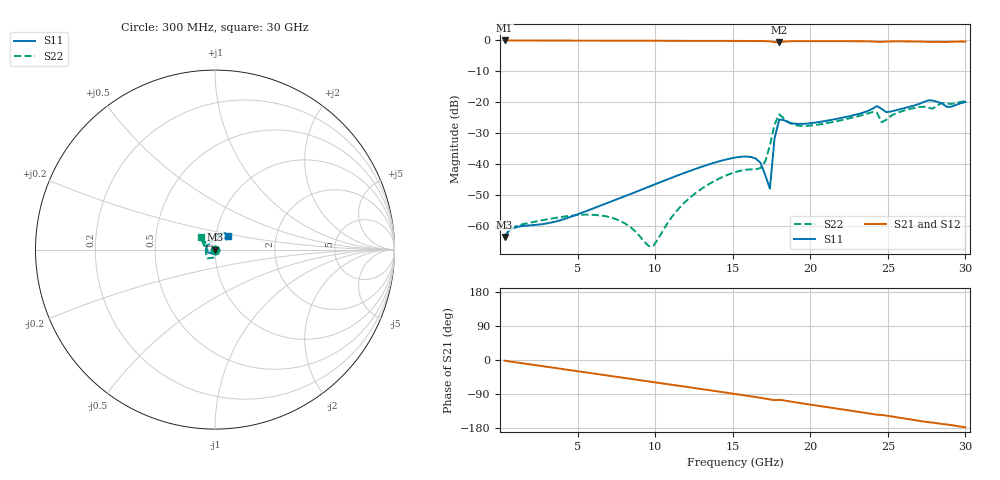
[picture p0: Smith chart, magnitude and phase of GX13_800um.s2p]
! Created Wed Apr 21 15:05:08 2021
! List of port names and net name(s): example Port n = <port_name> <net_name1> <net_name2> ...
! Port 1 = P1 P2 gnd!
! Port 2 = P2 P2 P4
# hz S ri R 50
! 2 Port Network Data from data block
! freq  reS11  imS11  reS21  imS21  reS12  imS12  reS22  imS22
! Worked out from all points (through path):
!   100 points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, 300 MHz to 30 GHz, reference 50 ohm
!   highest |S21| = -0.01 dB at 300 MHz (marker M1); lowest = -0.6 dB at 18 GHz (marker M2)
!   group delay of S21, straight-line fit = 16.4 ps
!   lowest |S11| = -63.5 dB at 300 MHz (marker M3), VSWR 1.00, Z = 50.1 + j0.0361 ohm
!   |S11| at or under -10 dB: start of sweep to end of sweep
!   |S22| runs from -66.5 to -19.6 dB; largest |S21 - S12| = 0
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3e8  0.000564 0.000361  0.9985 -0.032  0.9985 -0.032  0.000567 0.000363
1.2e9  0.000835 0.000512  0.9896 -0.1249  0.9896 -0.1249  0.000888 0.000516
5.4e9  -1.81e-05 0.00168  0.842 -0.5248  0.842 -0.5248  0.00106 0.0011
7.8e9  -0.00108 0.00266  0.6869 -0.7123  0.6869 -0.7123  0.00098 0.000687
9.6e9  -0.00231 0.00366  0.5432 -0.8248  0.5432 -0.8248  0.000422 -0.000214
1.02e10  -0.00281 0.00409  0.491 -0.8562  0.491 -0.8562  7.59e-05 -0.000617
1.11e10  -0.00363 0.00488  0.4092 -0.8971  0.4092 -0.8971  -0.000621 -0.00128
1.23e10  -0.0048 0.00625  0.2949 -0.9396  0.2949 -0.9396  -0.00191 -0.00225
1.53e10  -0.00628 0.0113  -0.00857 -0.9812  -0.00857 -0.9812  -0.00611 -0.00455
1.68e10  -0.00176 0.0103  -0.1676 -0.9623  -0.1676 -0.9623  -0.00371 -0.00784
1.71e10  0.000702 0.00663  -0.2012 -0.9524  -0.2012 -0.9524  -0.000741 -0.0111
1.74e10  0.00264 -0.00302  -0.2353 -0.9358  -0.2353 -0.9358  0.0039 -0.0197
1.77e10  -0.0097 -0.0245  -0.2577 -0.9041  -0.2577 -0.9041  0.000371 -0.0439
1.8e10  -0.0514 -0.0114  -0.2453 -0.8988  -0.2453 -0.8988  -0.0416 -0.0487
1.89e10  -0.0318 0.0326  -0.343 -0.9091  -0.343 -0.9091  -0.0432 -0.00607
2.01e10  -0.0219 0.0407  -0.4617 -0.8579  -0.4617 -0.8579  -0.0423 0.000561
2.43e10  0.0124 0.0861  -0.7732 -0.5532  -0.7732 -0.5532  -0.0522 0.0436
2.46e10  0.0276 0.0734  -0.7759 -0.5428  -0.7759 -0.5428  -0.0366 0.0306
2.52e10  0.0182 0.0686  -0.8241 -0.5008  -0.8241 -0.5008  -0.056 0.0226
2.76e10  0.0571 0.0912  -0.9105 -0.2608  -0.9105 -0.2608  -0.0621 0.0525
2.88e10  0.0627 0.0562  -0.931 -0.1626  -0.931 -0.1626  -0.0698 0.0651
3e10  0.0699 0.0733  -0.957 -0.0394  -0.957 -0.0394  -0.0763 0.0723
